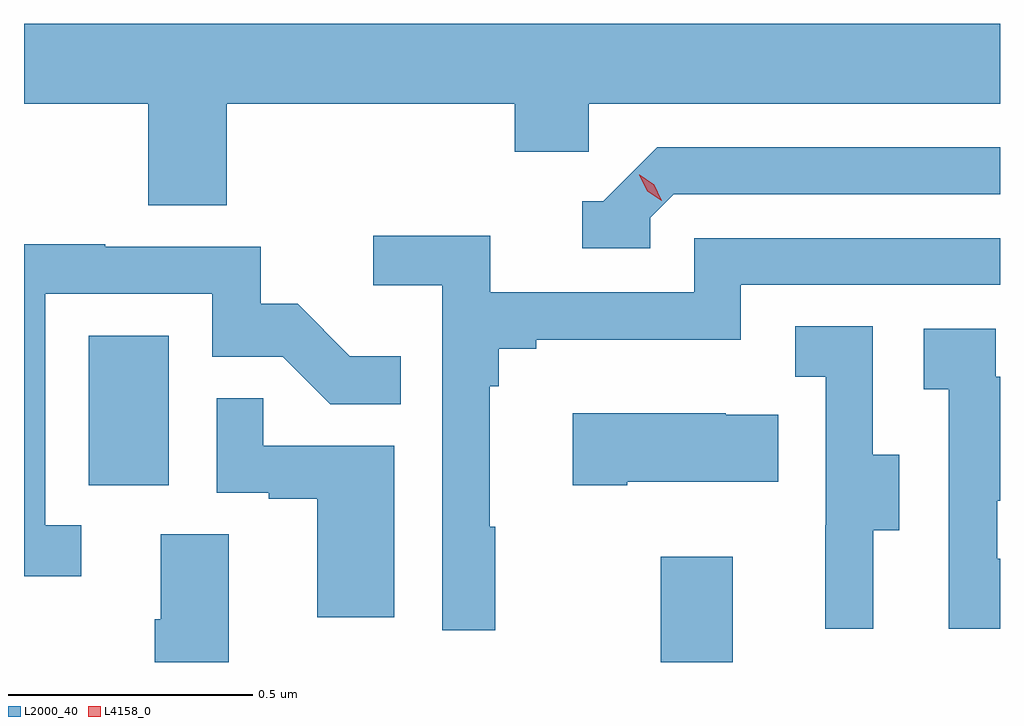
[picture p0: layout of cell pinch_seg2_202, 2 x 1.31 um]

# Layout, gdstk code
import gdstk
lib = gdstk.Library(unit=1e-6, precision=1e-09)
def R(c, l, rs):  # rectangles x0, y0, x1, y1
    for r in rs: c.add(gdstk.rectangle(r[:2], r[2:], *l))
def P(c, l, *ps):  # polygons
    for p in ps: c.add(gdstk.Polygon(p, *l))
L2000_40 = (2000, 40)
L4158_0 = (4158, 0)

pinch_seg2_202 = lib.new_cell('pinch_seg2_202')
R(pinch_seg2_202, L2000_40, [(987.448,659.812,987.595,660.028), (986.276,660.174,986.44,660.481)])
P(pinch_seg2_202, L2000_40, [(986.558,660.956),(987.149,660.956),(987.149,660.858),(987.3,660.858),(987.3,660.956),(988.143,660.956),(988.143,661.12),(986.143,661.12),(986.143,660.956),(986.398,660.956),(986.398,660.748),(986.558,660.748)],
  [(987.426,660.723),(987.474,660.771),(988.143,660.771),(988.143,660.867),(987.441,660.867),(987.33,660.756),(987.287,660.756),(987.287,660.66),(987.426,660.66)],
  [(987.109,660.089),(987.097,660.089),(987.097,660.377),(987.116,660.377),(987.116,660.454),(987.193,660.454),(987.193,660.473),(987.612,660.473),(987.612,660.585),(988.143,660.585),(988.143,660.681),(987.516,660.681),(987.516,660.57),(987.098,660.57),(987.098,660.686),(986.859,660.686),(986.859,660.584),(987,660.584),(987,659.877),(987.109,659.877)],
  [(986.26,660.093),(986.187,660.093),(986.187,660.567),(986.529,660.567),(986.529,660.438),(986.673,660.438),(986.771,660.34),(986.915,660.34),(986.915,660.439),(986.811,660.439),(986.704,660.546),(986.628,660.546),(986.628,660.663),(986.309,660.663),(986.309,660.668),(986.143,660.668),(986.143,659.988),(986.26,659.988)],
  [(987.883,660.082),(987.937,660.082),(987.937,660.237),(987.882,660.237),(987.882,660.5),(987.723,660.5),(987.723,660.397),(987.786,660.397),(987.786,660.093),(987.785,660.093),(987.785,659.88),(987.883,659.88)],
  [(988.143,660.024),(988.137,660.024),(988.137,660.143),(988.143,660.143),(988.143,660.397),(988.134,660.397),(988.134,660.495),(987.987,660.495),(987.987,660.371),(988.038,660.371),(988.038,659.88),(988.143,659.88)],
  [(986.902,660.255),(986.633,660.255),(986.633,660.353),(986.538,660.353),(986.538,660.159),(986.645,660.159),(986.645,660.147),(986.744,660.147),(986.744,659.904),(986.902,659.904)],
  [(987.379,660.182),(987.689,660.182),(987.689,660.319),(987.581,660.319),(987.581,660.322),(987.267,660.322),(987.267,660.175),(987.379,660.175)],
  [(986.563,660.074),(986.423,660.074),(986.423,659.9),(986.411,659.9),(986.411,659.812),(986.563,659.812)])
P(pinch_seg2_202, L4158_0, [(987.45,660.757),(987.42,660.777),(987.404,660.81),(987.404,660.811),(987.405,660.811),(987.435,660.79),(987.45,660.758),(987.45,660.757)])

lib.write_gds('pinch_seg2_202.gds')
